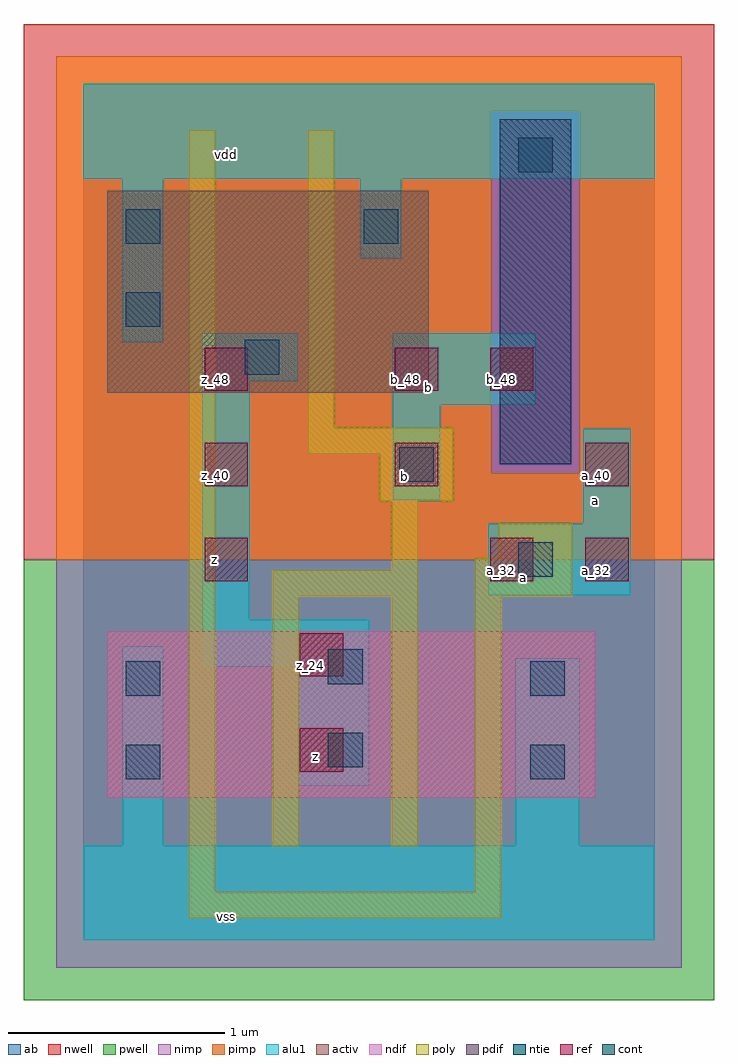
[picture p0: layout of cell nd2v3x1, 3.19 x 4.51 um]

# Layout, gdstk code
import gdstk
lib = gdstk.Library(unit=1e-6, precision=2.5e-09)
def R(c, l, rs):  # rectangles x0, y0, x1, y1
    for r in rs: c.add(gdstk.rectangle(r[:2], r[2:], *l))
def A(c, l, x, y, w, h, nx, ny, dx, dy):  # array of equal rectangles
    R(c, l, [(x+i*dx, y+j*dy, x+i*dx+w, y+j*dy+h) for i in range(nx) for j in range(ny)])
ndif = (3, 0)
pdif = (4, 0)
ntie = (5, 0)
ref = (24, 0)
cont = (25, 0)
pwell = (41, 0)
nwell = (42, 0)
activ = (43, 0)
pimp = (44, 0)
nimp = (45, 0)
poly = (46, 0)
alu1 = (49, 0)
ab = (63, 0)

nd2v3x1 = lib.new_cell('nd2v3x1')
R(nd2v3x1, ndif, [(0.11,0.66,2.365,1.43)])
R(nd2v3x1, pdif, [(0.11,2.53,1.595,3.465)])
R(nd2v3x1, ntie, [(1.925,2.2,2.255,3.795)])
A(nd2v3x1, ref, 0.56, 2.1, 0.2, 0.2, 3, 1, 0.88, 0)
R(nd2v3x1, ref, [(1,0.78,1.2,0.98), (1,1.22,1.2,1.42), (0.56,1.66,0.76,1.86), (1.88,1.66,2.08,1.86), (2.32,1.66,2.52,1.86), (0.56,2.54,0.76,2.74), (1.44,2.54,1.64,2.74), (1.88,2.54,2.08,2.74)])
R(nd2v3x1, cont, [(0.195,0.745,0.355,0.905), (2.065,0.745,2.225,0.905), (1.13,0.8,1.29,0.96), (0.195,1.13,0.355,1.29), (2.065,1.13,2.225,1.29), (1.13,1.185,1.29,1.345), (2.01,1.68,2.17,1.84), (1.46,2.12,1.62,2.28), (0.745,2.615,0.905,2.775), (0.195,2.835,0.355,2.995), (0.195,3.22,0.355,3.38), (1.295,3.22,1.455,3.38), (2.01,3.55,2.17,3.71)])
R(nd2v3x1, pwell, [(-0.275,-0.275,2.915,1.76)])
R(nd2v3x1, nwell, [(-0.275,1.76,2.915,4.235)])
R(nd2v3x1, activ, [(0.11,0.66,2.365,1.43), (1.925,2.2,2.255,3.795), (0.11,2.53,1.595,3.465)])
R(nd2v3x1, pimp, [(-0.125,1.76,2.765,2.16), (-0.125,2.16,1.885,3.835), (2.295,2.16,2.765,3.835), (-0.125,3.835,2.765,4.085)])
R(nd2v3x1, nimp, [(-0.125,-0.125,2.765,1.76), (1.885,2.16,2.295,3.835)])
R(nd2v3x1, poly, [(0.49,0.105,1.93,0.225), (0.49,0.225,0.61,3.745), (1.81,0.225,1.93,1.59), (0.875,0.435,0.995,1.59), (1.425,0.435,1.545,1.59), (0.875,1.59,1.545,1.71), (1.81,1.59,2.26,1.765), (1.425,1.71,1.545,2.03), (1.92,1.765,2.26,1.93), (1.37,2.03,1.71,2.25), (1.04,2.25,1.71,2.37), (1.04,2.37,1.16,3.745)])
R(nd2v3x1, alu1, [(0,0,2.64,0.44), (0.18,0.44,0.37,1.36), (1.995,0.44,2.295,1.305), (0.99,0.715,1.32,1.265), (0.55,1.265,1.32,1.485), (0.55,1.485,0.77,2.585), (1.87,1.595,2.53,1.925), (2.31,1.925,2.53,2.365), (1.43,2.035,1.65,2.475), (1.43,2.475,2.09,2.805), (0.55,2.585,0.99,2.805), (0.18,2.765,0.37,3.52), (1.28,3.15,1.47,3.52), (0,3.52,2.64,3.96)])
R(nd2v3x1, ab, [(0,0,2.64,3.96)])
nd2v3x1.add(gdstk.Label('vss', (0.66,0.11), layer=49, texttype=0))
nd2v3x1.add(gdstk.Label('z', (1.0725,0.8525), layer=49, texttype=0))
nd2v3x1.add(gdstk.Label('a', (2.035,1.6775), layer=49, texttype=0))
nd2v3x1.add(gdstk.Label('a', (2.365,2.035), layer=49, texttype=0))
nd2v3x1.add(gdstk.Label('b', (1.485,2.145), layer=49, texttype=0))
nd2v3x1.add(gdstk.Label('b', (1.595,2.5575), layer=49, texttype=0))
nd2v3x1.add(gdstk.Label('z', (0.605,1.76), layer=49, texttype=0))
nd2v3x1.add(gdstk.Label('vdd', (0.66,3.63), layer=49, texttype=0))
nd2v3x1.add(gdstk.Label('z_32', (0.61,1.71), layer=24, texttype=0))
nd2v3x1.add(gdstk.Label('z_40', (0.61,2.15), layer=24, texttype=0))
nd2v3x1.add(gdstk.Label('b_48', (1.49,2.59), layer=24, texttype=0))
nd2v3x1.add(gdstk.Label('b_48', (1.93,2.59), layer=24, texttype=0))
nd2v3x1.add(gdstk.Label('b_40', (1.49,2.15), layer=24, texttype=0))
nd2v3x1.add(gdstk.Label('z_48', (0.61,2.59), layer=24, texttype=0))
nd2v3x1.add(gdstk.Label('z_16', (1.05,0.83), layer=24, texttype=0))
nd2v3x1.add(gdstk.Label('z_24', (1.05,1.27), layer=24, texttype=0))
nd2v3x1.add(gdstk.Label('a_32', (1.93,1.71), layer=24, texttype=0))
nd2v3x1.add(gdstk.Label('a_32', (2.37,1.71), layer=24, texttype=0))
nd2v3x1.add(gdstk.Label('a_40', (2.37,2.15), layer=24, texttype=0))

lib.write_gds('nd2v3x1.gds')
